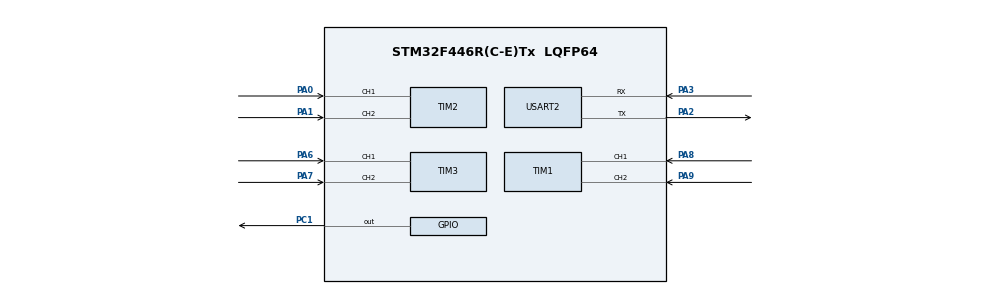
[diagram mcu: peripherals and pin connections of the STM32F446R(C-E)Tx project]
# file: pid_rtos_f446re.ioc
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FREERTOS.Tasks01=defaultTask,24,128,StartDefaultTask,Default,NULL,Dynamic,NULL,NULL
Mcu.Family=STM32F4
Mcu.Name=STM32F446R(C-E)Tx
Mcu.Package=LQFP64
NVIC.PriorityGroup=NVIC_PRIORITYGROUP_4
NVIC.TIM6_DAC_IRQn=true\:15\:0\:false\:false\:true\:false\:false\:true\:true
NVIC.TimeBase=TIM6_DAC_IRQn
NVIC.TimeBaseIP=TIM6
PA0-WKUP.Signal=S_TIM2_CH1_ETR
PA1.Signal=S_TIM2_CH2
PA2.Mode=Asynchronous
PA2.Signal=USART2_TX
PA3.Mode=Asynchronous
PA3.Signal=USART2_RX
PA6.Signal=S_TIM3_CH1
PA7.Signal=S_TIM3_CH2
PA8.Signal=S_TIM1_CH1
PA9.Signal=S_TIM1_CH2
PC1.Signal=GPIO_Output
ProjectManager.HeapSize=0x200
ProjectManager.StackSize=0x400
ProjectManager.TargetToolchain=STM32CubeIDE
RCC.CortexFreq_Value=16000000
RCC.USBFreq_Value=96000000
RCC.VCOOutputFreq_Value=192000000
SH.S_TIM1_CH1.0=TIM1_CH1,Encoder_Interface
SH.S_TIM1_CH2.0=TIM1_CH2,Encoder_Interface
SH.S_TIM2_CH1_ETR.0=TIM2_CH1,Encoder_Interface
SH.S_TIM2_CH2.0=TIM2_CH2,Encoder_Interface
SH.S_TIM3_CH1.0=TIM3_CH1,Encoder_Interface
SH.S_TIM3_CH2.0=TIM3_CH2,Encoder_Interface
USART2.VirtualMode=VM_ASYNC
VP_FREERTOS_VS_CMSIS_V2.Mode=CMSIS_V2
VP_SYS_VS_tim6.Mode=TIM6
board=custom

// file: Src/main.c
/* USER CODE BEGIN Header */
/**
  ******************************************************************************
  * @file           : main.c
  * @brief          : Main program body
  ******************************************************************************
  * @attention
  *
  * Copyright (c) 2026 STMicroelectronics.
  * All rights reserved.
  *
  * This software is licensed under terms that can be found in the LICENSE file
  * in the root directory of this software component.
  * If no LICENSE file comes with this software, it is provided AS-IS.
  *
  ******************************************************************************
  */
/* USER CODE END Header */
#include "main.h"
#include "cmsis_os.h"
#include "tim.h"
#include "usart.h"
#include "gpio.h"

/* USER CODE BEGIN Includes */
#include <string.h>
#include "motor_control.h"
/* USER CODE END Includes */

void SystemClock_Config(void);
void MX_FREERTOS_Init(void);

int main(void)
{

  /* MCU Configuration--------------------------------------------------------*/

  /* Reset of all peripherals, Initializes the Flash interface and the Systick. */
  HAL_Init();

  /* Configure the system clock */
  SystemClock_Config();

  /* Initialize all configured peripherals */
  MX_GPIO_Init();
  MX_TIM1_Init();
  MX_TIM2_Init();
  MX_TIM3_Init();
  MX_USART2_UART_Init();

  /* USER CODE BEGIN 2 */
  // Initialize Timers, Encoder, PWM, and Motor Driver before RTOS scheduler starts
  MotorControl_Init();
  /* USER CODE END 2 */

  /* Init scheduler */
  osKernelInitialize();  /* Call init function for freertos objects (in cmsis_os2.c) */
  MX_FREERTOS_Init();

  /* Start scheduler */
  osKernelStart();

  /* We should never get here as control is now taken by the scheduler */

  /* Infinite loop */
  while (1)
  {

  }
}

void SystemClock_Config(void)
{
  RCC_OscInitTypeDef RCC_OscInitStruct = {0};
  RCC_ClkInitTypeDef RCC_ClkInitStruct = {0};

  /** Configure the main internal regulator output voltage
  */
  __HAL_RCC_PWR_CLK_ENABLE();
  __HAL_PWR_VOLTAGESCALING_CONFIG(PWR_REGULATOR_VOLTAGE_SCALE3);

  /** Initializes the RCC Oscillators according to the specified parameters
  * in the RCC_OscInitTypeDef structure.
  */
  RCC_OscInitStruct.OscillatorType = RCC_OSCILLATORTYPE_HSI;
  RCC_OscInitStruct.HSIState = RCC_HSI_ON;
  RCC_OscInitStruct.HSICalibrationValue = RCC_HSICALIBRATION_DEFAULT;
  RCC_OscInitStruct.PLL.PLLState = RCC_PLL_NONE;
  if (HAL_RCC_OscConfig(&RCC_OscInitStruct) != HAL_OK)
  {
    Error_Handler();
  }

  /** Initializes the CPU, AHB and APB buses clocks
  */
  RCC_ClkInitStruct.ClockType = RCC_CLOCKTYPE_HCLK|RCC_CLOCKTYPE_SYSCLK
                              |RCC_CLOCKTYPE_PCLK1|RCC_CLOCKTYPE_PCLK2;
  RCC_ClkInitStruct.SYSCLKSource = RCC_SYSCLKSOURCE_HSI;
  RCC_ClkInitStruct.AHBCLKDivider = RCC_SYSCLK_DIV1;
  RCC_ClkInitStruct.APB1CLKDivider = RCC_HCLK_DIV1;
  RCC_ClkInitStruct.APB2CLKDivider = RCC_HCLK_DIV1;

  if (HAL_RCC_ClockConfig(&RCC_ClkInitStruct, FLASH_LATENCY_0) != HAL_OK)
  {
    Error_Handler();
  }
}

void HAL_TIM_PeriodElapsedCallback(TIM_HandleTypeDef *htim)
{
  if (htim->Instance == TIM6)
  {
    HAL_IncTick();
  }
}

void Error_Handler(void)
{
  __disable_irq();
  while (1)
  {
  }
}

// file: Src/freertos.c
/* USER CODE BEGIN Header */
/**
  ******************************************************************************
  * File Name          : freertos.c
  * Description        : Code for freertos applications
  ******************************************************************************
  * @attention
  *
  * Copyright (c) 2026 STMicroelectronics.
  * All rights reserved.
  *
  * This software is licensed under terms that can be found in the LICENSE file
  * in the root directory of this software component.
  * If no LICENSE file comes with this software, it is provided AS-IS.
  *
  ******************************************************************************
  */
/* USER CODE END Header */

#include "FreeRTOS.h"
#include "task.h"
#include "main.h"
#include "cmsis_os.h"

/* USER CODE BEGIN Includes */
#include "motor_control.h"
#include "usart.h"
#include <string.h>
#include <stdio.h>
/* USER CODE END Includes */

/* Definitions for defaultTask */
osThreadId_t defaultTaskHandle;
const osThreadAttr_t defaultTask_attributes = {
  .name = "defaultTask",
  .stack_size = 256 * 4,
  .priority = (osPriority_t) osPriorityNormal,
};

void StartDefaultTask(void *argument);

void MX_FREERTOS_Init(void); /* (MISRA C 2004 rule 8.1) */

void MX_FREERTOS_Init(void) {

  /* Create the thread(s) */
  /* creation of defaultTask */
  defaultTaskHandle = osThreadNew(StartDefaultTask, NULL, &defaultTask_attributes);

}

void StartDefaultTask(void *argument)
{
  /* USER CODE BEGIN StartDefaultTask */
	MotorControl_Init();

	  TickType_t xLastWakeTime = xTaskGetTickCount();
	  const TickType_t xFrequency = pdMS_TO_TICKS(10); // 10ms = 100Hz execution rate

	  uint32_t print_counter = 0;
	  const char *msg = "Motor PID Loop Running!\r\n";
  /* Infinite loop */
  for(;;)
  {	// 2. Compute 100Hz motor PID control loop
      MotorControl_Update(0.01f);

      // 3. Output telemetry every 100 iterations (100 * 10ms = 1000ms = 1 second)
      if (++print_counter >= 100)
      {
        HAL_UART_Transmit(&huart2, (uint8_t*)msg, strlen(msg), 100);
        print_counter = 0;
      }

      // 4. Wait for exact 10ms period (prevents execution time drift)
      vTaskDelayUntil(&xLastWakeTime, xFrequency);
  }
  /* USER CODE END StartDefaultTask */
}
